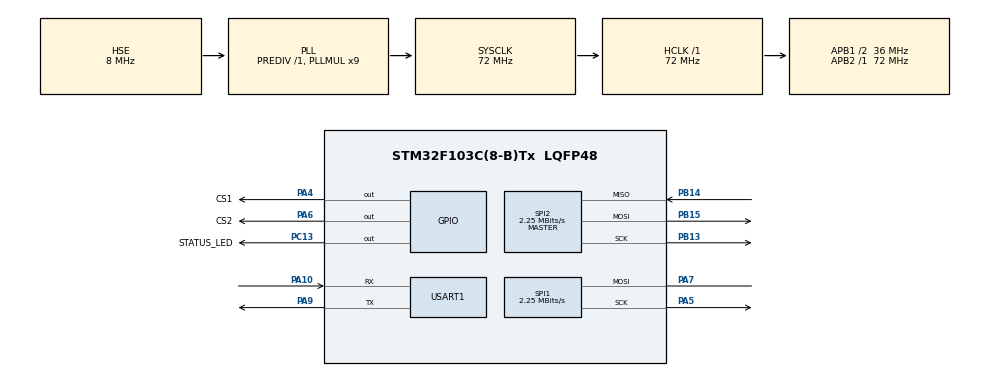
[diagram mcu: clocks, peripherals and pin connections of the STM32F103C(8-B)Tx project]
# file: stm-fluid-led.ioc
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Mcu.Family=STM32F1
Mcu.Name=STM32F103C(8-B)Tx
Mcu.Package=LQFP48
NVIC.PriorityGroup=NVIC_PRIORITYGROUP_4
PA10.Mode=Asynchronous
PA10.Signal=USART1_RX
PA13.Mode=Serial_Wire
PA13.Signal=SYS_JTMS-SWDIO
PA14.Mode=Serial_Wire
PA14.Signal=SYS_JTCK-SWCLK
PA4.GPIO_Label=CS1
PA4.Signal=GPIO_Output
PA5.Mode=Simplex_Bidirectional_Master
PA5.Signal=SPI1_SCK
PA6.GPIO_Label=CS2
PA6.Signal=GPIO_Output
PA7.Mode=Simplex_Bidirectional_Master
PA7.Signal=SPI1_MOSI
PA9.Mode=Asynchronous
PA9.Signal=USART1_TX
PB13.Mode=Full_Duplex_Master
PB13.Signal=SPI2_SCK
PB14.Mode=Full_Duplex_Master
PB14.Signal=SPI2_MISO
PB15.Mode=Full_Duplex_Master
PB15.Signal=SPI2_MOSI
PC13-TAMPER-RTC.GPIO_Label=STATUS_LED
PC13-TAMPER-RTC.Signal=GPIO_Output
PD0-OSC_IN.Mode=HSE-External-Oscillator
PD0-OSC_IN.Signal=RCC_OSC_IN
PD1-OSC_OUT.Mode=HSE-External-Oscillator
PD1-OSC_OUT.Signal=RCC_OSC_OUT
ProjectManager.HeapSize=0x200
ProjectManager.StackSize=0x400
ProjectManager.TargetToolchain=STM32CubeIDE
RCC.AHBFreq_Value=72000000
RCC.APB1CLKDivider=RCC_HCLK_DIV2
RCC.APB1Freq_Value=36000000
RCC.APB1TimFreq_Value=72000000
RCC.APB2Freq_Value=72000000
RCC.APB2TimFreq_Value=72000000
RCC.HCLKFreq_Value=72000000
RCC.PLLMUL=RCC_PLL_MUL9
RCC.PLLSourceVirtual=RCC_PLLSOURCE_HSE
RCC.SYSCLKFreq_VALUE=72000000
RCC.SYSCLKSource=RCC_SYSCLKSOURCE_PLLCLK
RCC.USBFreq_Value=72000000
SPI1.BaudRatePrescaler=SPI_BAUDRATEPRESCALER_32
SPI1.CLKPolarity=SPI_POLARITY_HIGH
SPI1.CalculateBaudRate=2.25 MBits/s
SPI1.DataSize=SPI_DATASIZE_16BIT
SPI1.Direction=SPI_DIRECTION_1LINE
SPI1.Mode=SPI_MODE_MASTER
SPI1.VirtualType=VM_MASTER
SPI2.BaudRatePrescaler=SPI_BAUDRATEPRESCALER_16
SPI2.CalculateBaudRate=2.25 MBits/s
SPI2.Direction=SPI_DIRECTION_2LINES
SPI2.Mode=SPI_MODE_MASTER
SPI2.VirtualType=VM_MASTER
USART1.VirtualMode=VM_ASYNC
board=custom

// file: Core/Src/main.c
/* USER CODE BEGIN Header */
/**
  ******************************************************************************
  * @file           : main.c
  * @brief          : Main program body
  ******************************************************************************
  * @attention
  *
  * Copyright (c) 2025 STMicroelectronics.
  * All rights reserved.
  *
  * This software is licensed under terms that can be found in the LICENSE file
  * in the root directory of this software component.
  * If no LICENSE file comes with this software, it is provided AS-IS.
  *
  ******************************************************************************
  */
/* USER CODE END Header */
#include "main.h"

/* USER CODE BEGIN Includes */
#include <stdio.h>
#include "flip_sim_c/scene.h"
#include "flip_sim_c/flip_utils.h"
#include "flip_sim_c/flip_fluid.h"

/* USER CODE END Includes */

/* USER CODE BEGIN PD */

// ADXL SPI Commands
#define ADXL_READ_CMD 0x0B
#define ADXL_WRITE_CMD 0x0A

// ADXL SPI registers
#define ADXL_DEVID_AD_REG 0x00
#define ADXL_STATUS_REG 0x0B
#define ADXL362_POWER_CTL_REG 0x2D
// ADXL362 Data registers
#define ADXL_XDATA_REG 0x08
#define ADXL_YDATA_REG 0x09
#define ADXL_ZDATA_REG 0x0A

// ADXL SPI register options
#define ADXL362_MEASURE 0x02

// Structure to hold accelerometer values
typedef struct {
    float x_g;
    float y_g;
    float z_g;
} ADXL362_Values_t;

/* USER CODE END PD */

SPI_HandleTypeDef hspi1;
SPI_HandleTypeDef hspi2;

UART_HandleTypeDef huart1;

/* USER CODE BEGIN PV */
uint32_t counter = 0;  // global counter
static Scene g_scene;

/* USER CODE END PV */

void SystemClock_Config(void);
static void MX_GPIO_Init(void);
static void MX_SPI1_Init(void);
static void MX_SPI2_Init(void);
static void MX_USART1_UART_Init(void);
/* USER CODE BEGIN PFP */

int _write(int file, char *ptr, int len)
{
    HAL_UART_Transmit(&huart1, (uint8_t*)ptr, len, HAL_MAX_DELAY);
    return len;
}

/* USER CODE END PFP */

/* USER CODE BEGIN 0 */

uint8_t ADXL362_ReadRegister(uint8_t reg_addr)
{
    uint8_t tx[3], rx[3];
    uint8_t value;

    // CS LOW
    HAL_GPIO_WritePin(CS2_GPIO_Port, CS2_Pin, GPIO_PIN_RESET);

    // Prepare SPI command
    tx[0] = ADXL_READ_CMD;      // Read command
    tx[1] = reg_addr;  // Register address
    tx[2] = 0x00;      // Dummy byte to receive data

    HAL_SPI_TransmitReceive(&hspi2, tx, rx, 3, HAL_MAX_DELAY);

    // CS HIGH
    HAL_GPIO_WritePin(CS2_GPIO_Port, CS2_Pin, GPIO_PIN_SET);

    value = rx[2];  // The third byte contains the register value

    // Print TX and RX for debugging
//    printf("TX Data: 0x%02X 0x%02X 0x%02X\r\n", tx[0], tx[1], tx[2]);
//    printf("RX Data[0]: 0x%02X\r\nRX Data[1]: 0x%02X\r\nRX Data[2]: 0x%02X\r\n", rx[0], rx[1], rx[2]);

    return value;
}
void ADXL362_WriteRegister(uint8_t reg_addr, uint8_t value)
{
    uint8_t tx[3];

    // CS LOW
    HAL_GPIO_WritePin(CS2_GPIO_Port, CS2_Pin, GPIO_PIN_RESET);

    // Prepare SPI write command
    tx[0] = ADXL_WRITE_CMD;  // 0x0A
    tx[1] = reg_addr;        // register address
    tx[2] = value;           // value to write

    HAL_SPI_Transmit(&hspi2, tx, 3, HAL_MAX_DELAY);

    // CS HIGH
    HAL_GPIO_WritePin(CS2_GPIO_Port, CS2_Pin, GPIO_PIN_SET);

    // Debug print
    printf("Write Reg 0x%02X = 0x%02X\r\n", reg_addr, value);
    printf("TX Data: 0x%02X 0x%02X 0x%02X\r\n", tx[0], tx[1], tx[2]);
}

/**
 * @brief  Read Device ID
 */
void ADXL362_ReadID(void)
{
    uint8_t devid = ADXL362_ReadRegister(ADXL_DEVID_AD_REG);
    printf("ADXL362 Device ID: 0x%02X\r\n", devid);
}

/**
 * @brief  Read STATUS register and print human-readable bits
 */
void ADXL362_ReadStatus(void)
{
    uint8_t status = ADXL362_ReadRegister(ADXL_STATUS_REG);
    printf("ADXL362 STATUS: 0x%02X\r\n", status);
    printf("  ERROR        : %s\r\n", (status & 0x80) ? "1" : "0");
    printf("  READY        : %s\r\n", (status & 0x40) ? "1" : "0");
    printf("  ACTIVITY     : %s\r\n", (status & 0x20) ? "1" : "0");
    printf("  INACTIVITY   : %s\r\n", (status & 0x10) ? "1" : "0");
    printf("  FIFO_OVERRUN : %s\r\n", (status & 0x08) ? "1" : "0");
    printf("  FIFO_WATERMARK: %s\r\n", (status & 0x04) ? "1" : "0");
    printf("  FIFO_READY   : %s\r\n", (status & 0x02) ? "1" : "0");
    printf("  RESERVED     : %s\r\n", (status & 0x01) ? "1" : "0");
}

ADXL362_Values_t ADXL362_ReadXYZ(int print_debug)
{
    uint8_t x_raw = ADXL362_ReadRegister(ADXL_XDATA_REG);
    uint8_t y_raw = ADXL362_ReadRegister(ADXL_YDATA_REG);
    uint8_t z_raw = ADXL362_ReadRegister(ADXL_ZDATA_REG);
    ADXL362_Values_t values;

    // Low-res mapping: exactly as your table
    if (x_raw <= 128)
        values.x_g = ((float)x_raw) / 64.0 * -1.0 * 9.81;     // 0→64→128 = 0→-1→-2 g
    else
        values.x_g = ((float)(255 - x_raw)) / 63.0 * 9.81 * 1.0;  // 128→192→255 = 2→1→0 g

    if (y_raw <= 128)
        values.y_g = ((float)y_raw) / 64.0 * -1.0 * 9.81;
    else
        values.y_g = ((float)(255 - y_raw)) / 63.0 * 9.81;

    if (z_raw <= 128)
        values.z_g = ((float)z_raw) / 64.0 * -1.0 * 9.81;
    else
        values.z_g = ((float)(255 - z_raw)) / 63.0 * 9.81;

    // Print raw + mapped g (only if requested - printing is slow!)
    if (print_debug) {
        printf("X_raw=%3d, Y_raw=%3d, Z_raw=%3d | X_g=%6.2f m/s², Y_g=%6.2f m/s², Z_g=%6.2f m/s²\r\n",
               x_raw, y_raw, z_raw, values.x_g, values.y_g, values.z_g);
    }

    return values;
}

const uint8_t charData[][8] = {
		{0x00, 0x1c, 0x22, 0x22, 0x22, 0x22, 0x1c, 0x00},  // 0
		{0x08, 0x0c, 0x08, 0x08, 0x08, 0x08, 0x3e, 0x00},  // 1
		{0x1c, 0x22, 0x20, 0x18, 0x04, 0x02, 0x3e, 0x00},  // 2
		{0x1c, 0x22, 0x20, 0x1c, 0x20, 0x22, 0x1c, 0x00},  // 3
		{0x20, 0x30, 0x28, 0x24, 0x7c, 0x20, 0x20, 0x00},  // 4
		{0x3e, 0x02, 0x1e, 0x20, 0x20, 0x20, 0x1e, 0x00},  // 5
		{0x18, 0x04, 0x02, 0x1e, 0x22, 0x22, 0x1c, 0x00},  // 6
		{0x3e, 0x20, 0x10, 0x08, 0x04, 0x04, 0x04, 0x00},  // 7
		{0x1c, 0x22, 0x22, 0x1c, 0x22, 0x22, 0x1c, 0x00},  // 8
		{0x1c, 0x22, 0x22, 0x3c, 0x20, 0x10, 0x0c, 0x00},  // 9
};

void max7219_write (uint8_t Addr, uint8_t data)
{
	uint16_t writeData = (Addr<<8)|data;
	HAL_GPIO_WritePin(CS1_GPIO_Port, CS1_Pin, 0);  // enable slave
	HAL_SPI_Transmit(&hspi1, (uint8_t *)&writeData, 1, 100);
	HAL_GPIO_WritePin(CS1_GPIO_Port, CS1_Pin, 1);  // disable slave
}

void matrixInit (void)
{
	max7219_write(0x09, 0);  // no decoding
	max7219_write(0x0a, 0x01);  // 3/32 intensity
	max7219_write(0x0B, 0x07);  // scan all 7 columns
	max7219_write(0x0C, 0x01);  // normal operation
	max7219_write(0x0F, 0);     // No display test
}

static void matrixShowRows(uint8_t rows[8])
{
	for (int i = 1; i <= 8; i++)
	{
		max7219_write(i, rows[8 - i]);
	}
}

void matrixData(int num)
{
	for (int i=1; i<=8; i++)
	{
		max7219_write(i, charData[num][8-i]);
	}
}

static void matrixFromFluid(void)
{
	if (!g_scene.fluid || !g_scene.fluid->cellColor) return;

	uint8_t rows[8] = {0};
	for (int row = 1; row <= 8; row++)
	{
		uint8_t bits = 0;
		for (int col = 1; col <= 8; col++)
		{
			int idx = row * 10 + col;
			float v = g_scene.fluid->cellColor[idx];
			if (v > 0.01f)
			{
				bits |= (1u << (col - 1));
			}
		}
		rows[row - 1] = bits;
	}

	matrixShowRows(rows);
}

/* USER CODE END 0 */

int main(void)
{

  /* MCU Configuration--------------------------------------------------------*/

  /* Reset of all peripherals, Initializes the Flash interface and the Systick. */
  HAL_Init();

  /* Configure the system clock */
  SystemClock_Config();

  /* Initialize all configured peripherals */
  MX_GPIO_Init();
  MX_SPI1_Init();
  MX_SPI2_Init();
  MX_USART1_UART_Init();
  /* USER CODE BEGIN 2 */

  HAL_Delay(1000); // 1000 ms delay to let UART buffers settle
  printf("Reading device id :\r\n");
  ADXL362_ReadID();
  printf("Reading STATUS before measuring :\r\n");
  ADXL362_ReadStatus();

  HAL_Delay(1000); // 1000 ms delay to read the prev status
  /* After reading device ID and status */
  printf("Enabling measurement mode...\r\n");
  ADXL362_WriteRegister(ADXL362_POWER_CTL_REG, ADXL362_MEASURE);

  printf("Reading STATUS after measuring :\r\n");
  ADXL362_ReadStatus();

  matrixInit();

  /* USER CODE END 2 */

  /* Infinite loop */
  while (1)
  {

    /* USER CODE BEGIN 3 */

		// Toggle LED on PC13
//		HAL_GPIO_TogglePin(GPIOC, STATUS_LED_Pin);

		// Print counter (disabled for performance - re-enable for debugging)
		// printf("Counter: %lu, LED toggled!\r\n", counter);

		// Increment counter
		counter++;

	//	ADXL362_ReadStatus();
		// Read raw X/Y/Z and map to gravity using improved mapping
		// Pass 0 to disable printf (much faster!) - use 1 for debugging
		ADXL362_Values_t accel = ADXL362_ReadXYZ(0);
		double gx = (double)accel.x_g;
		double gy = (double)accel.y_g;

		// Lazy init scene on first loop
		if (g_scene.fluid == NULL)
		{
			g_scene = scene_default();
			setupScene(&g_scene);
			g_scene.paused = false;
		}

		// Step fluid and update matrix
		simulateFlipFluid(
			g_scene.fluid,
			g_scene.dt,
			gx,
			gy,
			g_scene.flipRatio,
			g_scene.numPressureIters,
			g_scene.numParticleIters,
			g_scene.overRelaxation,
			g_scene.compensateDrift,
			g_scene.separateParticles
		);

		matrixFromFluid();

		// Minimal delay - let simulation compute as fast as possible
		HAL_Delay(1);

  }
  /* USER CODE END 3 */
}

void SystemClock_Config(void)
{
  RCC_OscInitTypeDef RCC_OscInitStruct = {0};
  RCC_ClkInitTypeDef RCC_ClkInitStruct = {0};

  /** Initializes the RCC Oscillators according to the specified parameters
  * in the RCC_OscInitTypeDef structure.
  */
  RCC_OscInitStruct.OscillatorType = RCC_OSCILLATORTYPE_HSE;
  RCC_OscInitStruct.HSEState = RCC_HSE_ON;
  RCC_OscInitStruct.HSEPredivValue = RCC_HSE_PREDIV_DIV1;
  RCC_OscInitStruct.HSIState = RCC_HSI_ON;
  RCC_OscInitStruct.PLL.PLLState = RCC_PLL_ON;
  RCC_OscInitStruct.PLL.PLLSource = RCC_PLLSOURCE_HSE;
  RCC_OscInitStruct.PLL.PLLMUL = RCC_PLL_MUL9;
  if (HAL_RCC_OscConfig(&RCC_OscInitStruct) != HAL_OK)
  {
    Error_Handler();
  }

  /** Initializes the CPU, AHB and APB buses clocks
  */
  RCC_ClkInitStruct.ClockType = RCC_CLOCKTYPE_HCLK|RCC_CLOCKTYPE_SYSCLK
                              |RCC_CLOCKTYPE_PCLK1|RCC_CLOCKTYPE_PCLK2;
  RCC_ClkInitStruct.SYSCLKSource = RCC_SYSCLKSOURCE_PLLCLK;
  RCC_ClkInitStruct.AHBCLKDivider = RCC_SYSCLK_DIV1;
  RCC_ClkInitStruct.APB1CLKDivider = RCC_HCLK_DIV2;
  RCC_ClkInitStruct.APB2CLKDivider = RCC_HCLK_DIV1;

  if (HAL_RCC_ClockConfig(&RCC_ClkInitStruct, FLASH_LATENCY_2) != HAL_OK)
  {
    Error_Handler();
  }
}

static void MX_SPI1_Init(void)
{

  /* SPI1 parameter configuration*/
  hspi1.Instance = SPI1;
  hspi1.Init.Mode = SPI_MODE_MASTER;
  hspi1.Init.Direction = SPI_DIRECTION_1LINE;
  hspi1.Init.DataSize = SPI_DATASIZE_16BIT;
  hspi1.Init.CLKPolarity = SPI_POLARITY_HIGH;
  hspi1.Init.CLKPhase = SPI_PHASE_1EDGE;
  hspi1.Init.NSS = SPI_NSS_SOFT;
  hspi1.Init.BaudRatePrescaler = SPI_BAUDRATEPRESCALER_32;
  hspi1.Init.FirstBit = SPI_FIRSTBIT_MSB;
  hspi1.Init.TIMode = SPI_TIMODE_DISABLE;
  hspi1.Init.CRCCalculation = SPI_CRCCALCULATION_DISABLE;
  hspi1.Init.CRCPolynomial = 10;
  if (HAL_SPI_Init(&hspi1) != HAL_OK)
  {
    Error_Handler();
  }

}

static void MX_SPI2_Init(void)
{

  /* SPI2 parameter configuration*/
  hspi2.Instance = SPI2;
  hspi2.Init.Mode = SPI_MODE_MASTER;
  hspi2.Init.Direction = SPI_DIRECTION_2LINES;
  hspi2.Init.DataSize = SPI_DATASIZE_8BIT;
  hspi2.Init.CLKPolarity = SPI_POLARITY_LOW;
  hspi2.Init.CLKPhase = SPI_PHASE_1EDGE;
  hspi2.Init.NSS = SPI_NSS_SOFT;
  hspi2.Init.BaudRatePrescaler = SPI_BAUDRATEPRESCALER_16;
  hspi2.Init.FirstBit = SPI_FIRSTBIT_MSB;
  hspi2.Init.TIMode = SPI_TIMODE_DISABLE;
  hspi2.Init.CRCCalculation = SPI_CRCCALCULATION_DISABLE;
  hspi2.Init.CRCPolynomial = 10;
  if (HAL_SPI_Init(&hspi2) != HAL_OK)
  {
    Error_Handler();
  }

}

static void MX_USART1_UART_Init(void)
{

  huart1.Instance = USART1;
  huart1.Init.BaudRate = 115200;
  huart1.Init.WordLength = UART_WORDLENGTH_8B;
  huart1.Init.StopBits = UART_STOPBITS_1;
  huart1.Init.Parity = UART_PARITY_NONE;
  huart1.Init.Mode = UART_MODE_TX_RX;
  huart1.Init.HwFlowCtl = UART_HWCONTROL_NONE;
  huart1.Init.OverSampling = UART_OVERSAMPLING_16;
  if (HAL_UART_Init(&huart1) != HAL_OK)
  {
    Error_Handler();
  }

}

static void MX_GPIO_Init(void)
{
  GPIO_InitTypeDef GPIO_InitStruct = {0};

  /* GPIO Ports Clock Enable */
  __HAL_RCC_GPIOC_CLK_ENABLE();
  __HAL_RCC_GPIOD_CLK_ENABLE();
  __HAL_RCC_GPIOA_CLK_ENABLE();
  __HAL_RCC_GPIOB_CLK_ENABLE();

  /*Configure GPIO pin Output Level */
  HAL_GPIO_WritePin(STATUS_LED_GPIO_Port, STATUS_LED_Pin, GPIO_PIN_RESET);

  /*Configure GPIO pin Output Level */
  HAL_GPIO_WritePin(GPIOA, CS1_Pin|CS2_Pin, GPIO_PIN_RESET);

  /*Configure GPIO pin : STATUS_LED_Pin */
  GPIO_InitStruct.Pin = STATUS_LED_Pin;
  GPIO_InitStruct.Mode = GPIO_MODE_OUTPUT_PP;
  GPIO_InitStruct.Pull = GPIO_NOPULL;
  GPIO_InitStruct.Speed = GPIO_SPEED_FREQ_LOW;
  HAL_GPIO_Init(STATUS_LED_GPIO_Port, &GPIO_InitStruct);

  /*Configure GPIO pins : CS1_Pin CS2_Pin */
  GPIO_InitStruct.Pin = CS1_Pin|CS2_Pin;
  GPIO_InitStruct.Mode = GPIO_MODE_OUTPUT_PP;
  GPIO_InitStruct.Pull = GPIO_NOPULL;
  GPIO_InitStruct.Speed = GPIO_SPEED_FREQ_LOW;
  HAL_GPIO_Init(GPIOA, &GPIO_InitStruct);

}

void Error_Handler(void)
{
  __disable_irq();
  while (1)
  {
  }
}
